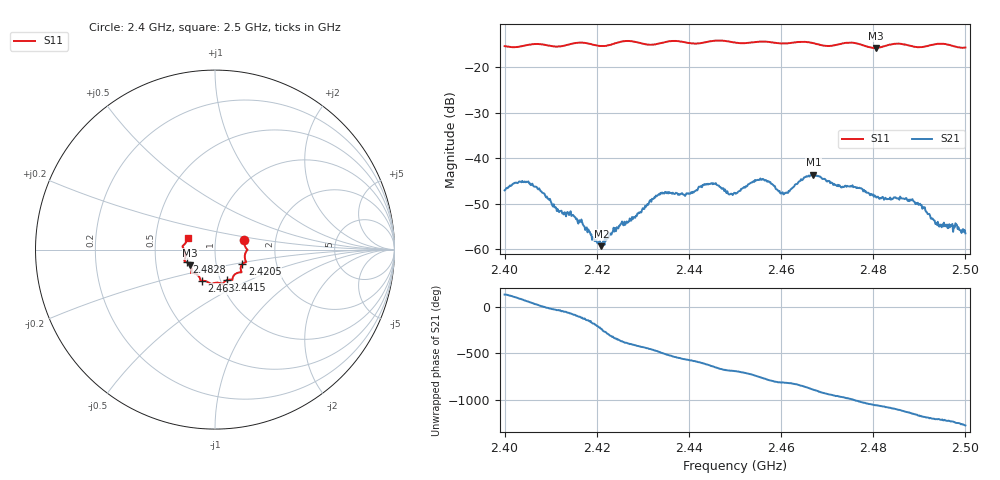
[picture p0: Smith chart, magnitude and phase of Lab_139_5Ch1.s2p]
# Hz S RI R 50
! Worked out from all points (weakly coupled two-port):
!   601 points, 2.4 GHz to 2.5 GHz, reference 50 ohm
!   highest |S21| = -43.58 dB at 2.467 GHz (marker M1); lowest = -59.3 dB at 2.421 GHz (marker M2)
!   lowest |S11| = -15.7 dB at 2.4805 GHz (marker M3), VSWR 1.39, Z = 37.3 - j6.68 ohm
!   |S11| at or under -10 dB: start of sweep to end of sweep
!   S12 and S22 are empty: the file has one direction only
!   S11 on the Smith chart (normalised r, x): 2.4 GHz: 1.38, +0.15; 2.4205 GHz: 1.34, -0.22; 2.4415 GHz: 1.07, -0.38; 2.463 GHz: 0.82, -0.29; 2.4828 GHz: 0.72, -0.10; 2.5 GHz: 0.73, +0.10
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2.4e9  0.1628 0.0527  -0.00285 0.00343  0 0  0 0
2.405e9  0.1763 0.00403  0.00305 0.00462  0 0  0 0
2.411333e9  0.1668 -0.0285  0.00208 -0.00164  0 0  0 0
2.416667e9  0.1734 -0.0698  -0.00108 -0.00184  0 0  0 0
2.4205e9  0.1521 -0.081  -0.000883 0.000839  0 0  0 0
2.421e9  0.1487 -0.0849  -0.000564 0.000929  0 0  0 0
2.4265e9  0.1484 -0.1265  0.00176 -0.00101  0 0  0 0
2.433333e9  0.1003 -0.1514  -0.00216 -0.00335  0 0  0 0
2.4415e9  0.0658 -0.1701  -0.00293 0.00333  0 0  0 0
2.445333e9  0.0429 -0.191  0.00128 0.00517  0 0  0 0
2.45e9  0.0247 -0.1856  0.00373 0.00188  0 0  0 0
2.4555e9  -0.0187 -0.1911  0.00471 -0.00373  0 0  0 0
2.460333e9  -0.0491 -0.1762  -0.000267 -0.00424  0 0  0 0
2.463e9  -0.0721 -0.1735  -0.00195 -0.00474  0 0  0 0
2.466667e9  -0.0815 -0.1673  -0.00634 -0.00158  0 0  0 0
2.467e9  -0.082 -0.1652  -0.00656 -0.000849  0 0  0 0
2.4805e9  -0.1383 -0.087  0.00357 0.00142  0 0  0 0
2.482833e9  -0.1585 -0.0701  0.00359 7.26e-05  0 0  0 0
2.483333e9  -0.1625 -0.0684  0.00358 -0.000275  0 0  0 0
2.4885e9  -0.1651 -0.0416  0.00113 -0.00339  0 0  0 0
2.494e9  -0.1808 0.0151  -0.00128 -0.00155  0 0  0 0
2.5e9  -0.1519 0.0641  -0.00144 0.000424  0 0  0 0
